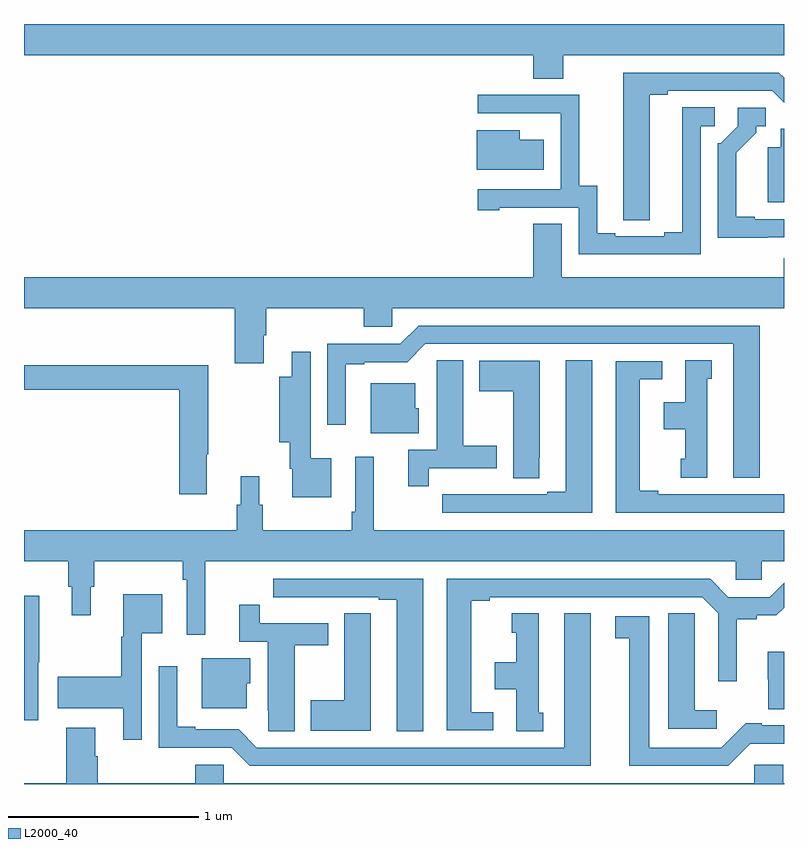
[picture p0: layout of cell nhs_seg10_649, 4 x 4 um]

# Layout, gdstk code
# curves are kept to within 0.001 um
import gdstk
lib = gdstk.Library(unit=1e-6, precision=1e-09)
def P(c, l, *ps):  # polygons
    for p in ps: c.add(gdstk.Polygon(p, *l))
L2000_40 = (2000, 40)

nhs_seg10_649 = lib.new_cell('nhs_seg10_649')
P(nhs_seg10_649, L2000_40, [(145.839,1280.336),(147,1280.336),(147,1280.5),(143,1280.5),(143,1280.336),(145.679,1280.336),(145.679,1280.212),(145.839,1280.212)],
  [(146.293,1280.128),(146.389,1280.128),(146.389,1280.148),(146.937,1280.148),(147,1280.085),(147,1280.217),(146.973,1280.244),(146.153,1280.244),(146.153,1279.576),(146.154,1279.576),(146.154,1279.468),(146.293,1279.468)],
  [(146.562,1279.962),(146.635,1279.962),(146.635,1280.063),(146.465,1280.063),(146.465,1279.403),(146.369,1279.403),(146.369,1279.383),(146.113,1279.383),(146.113,1279.398),(146.017,1279.398),(146.017,1279.649),(145.923,1279.649),(145.923,1280.127),(145.389,1280.127),(145.389,1280.031),(145.823,1280.031),(145.823,1280.03),(145.824,1280.03),(145.824,1279.629),(145.389,1279.629),(145.389,1279.521),(145.501,1279.521),(145.501,1279.533),(145.92,1279.533),(145.92,1279.287),(146.562,1279.287)],
  [(146.915,1279.377),(147,1279.377),(147,1279.473),(146.845,1279.473),(146.845,1279.486),(146.749,1279.486),(146.749,1279.822),(146.854,1279.927),(146.854,1279.962),(146.904,1279.962),(146.904,1280.058),(146.757,1280.058),(146.757,1279.962),(146.667,1279.872),(146.652,1279.872),(146.652,1279.376)],
  [(147,1279.95),(146.984,1279.95),(146.984,1279.852),(146.915,1279.852),(146.915,1279.562),(147,1279.562)],
  [(145.735,1279.891),(145.609,1279.891),(145.609,1279.942),(145.382,1279.942),(145.382,1279.733),(145.735,1279.733)],
  [(144.262,1278.862),(144.275,1278.862),(144.275,1279.004),(144.788,1279.004),(144.788,1278.906),(144.939,1278.906),(144.939,1279.004),(147,1279.004),(147,1279.266),(146.999,1279.266),(146.999,1279.168),(145.831,1279.168),(145.831,1279.448),(145.679,1279.448),(145.679,1279.168),(143,1279.168),(143,1279.004),(144.11,1279.004),(144.11,1278.714),(144.262,1278.714)],
  [(146.872,1278.912),(145.077,1278.912),(144.981,1278.816),(144.597,1278.816),(144.597,1278.39),(144.694,1278.39),(144.694,1278.708),(144.79,1278.708),(144.79,1278.72),(145.017,1278.72),(145.113,1278.816),(146.732,1278.816),(146.732,1278.111),(146.872,1278.111)],
  [(144.616,1278.214),(144.51,1278.214),(144.51,1278.539),(144.508,1278.539),(144.508,1278.775),(144.41,1278.775),(144.41,1278.643),(144.343,1278.643),(144.343,1278.299),(144.399,1278.299),(144.399,1278.158),(144.411,1278.158),(144.411,1278.008),(144.616,1278.008)],
  [(145.99,1278.731),(145.85,1278.731),(145.85,1278.039),(145.754,1278.039),(145.754,1278.024),(145.478,1278.024),(145.478,1278.025),(145.312,1278.025),(145.312,1278.024),(145.2,1278.024),(145.2,1277.928),(145.99,1277.928)],
  [(146.596,1278.633),(146.62,1278.633),(146.62,1278.731),(146.48,1278.731),(146.48,1278.508),(146.366,1278.508),(146.366,1278.368),(146.48,1278.368),(146.48,1278.213),(146.456,1278.213),(146.456,1278.111),(146.596,1278.111)],
  [(145.13,1278.162),(145.489,1278.162),(145.489,1278.279),(145.312,1278.279),(145.312,1278.731),(145.173,1278.731),(145.173,1278.62),(145.172,1278.62),(145.172,1278.258),(145.022,1278.258),(145.022,1278.066),(145.13,1278.066)],
  [(145.713,1278.217),(145.714,1278.217),(145.714,1278.727),(145.397,1278.727),(145.397,1278.568),(145.574,1278.568),(145.574,1278.109),(145.713,1278.109)],
  [(147,1278.024),(146.338,1278.024),(146.338,1278.044),(146.242,1278.044),(146.242,1278.63),(146.359,1278.63),(146.359,1278.726),(146.114,1278.726),(146.114,1277.928),(147,1277.928)],
  [(143.962,1278.236),(143.97,1278.236),(143.97,1278.703),(143,1278.703),(143,1278.574),(143.816,1278.574),(143.816,1278.024),(143.962,1278.024)],
  [(145.078,1278.477),(145.06,1278.477),(145.06,1278.61),(144.824,1278.61),(144.824,1278.347),(145.078,1278.347)],
  [(143.954,1277.672),(146.745,1277.672),(146.745,1277.574),(146.883,1277.574),(146.883,1277.672),(147,1277.672),(147,1277.836),(144.842,1277.836),(144.842,1278.223),(144.744,1278.223),(144.744,1277.932),(144.724,1277.932),(144.724,1277.836),(144.257,1277.836),(144.257,1277.97),(144.238,1277.97),(144.238,1278.121),(144.14,1278.121),(144.14,1277.97),(144.121,1277.97),(144.121,1277.836),(143,1277.836),(143,1277.672),(143.233,1277.672),(143.233,1277.538),(143.252,1277.538),(143.252,1277.388),(143.35,1277.388),(143.35,1277.538),(143.369,1277.538),(143.369,1277.672),(143.836,1277.672),(143.836,1277.576),(143.856,1277.576),(143.856,1277.286),(143.954,1277.286)],
  [(145.102,1277.58),(144.312,1277.58),(144.312,1277.484),(144.424,1277.484),(144.424,1277.483),(144.59,1277.483),(144.59,1277.484),(144.866,1277.484),(144.866,1277.469),(144.962,1277.469),(144.962,1276.777),(145.102,1276.777)],
  [(145.471,1276.878),(145.354,1276.878),(145.354,1277.464),(145.45,1277.464),(145.45,1277.484),(146.571,1277.484),(146.655,1277.4),(146.655,1277.04),(146.752,1277.04),(146.752,1277.368),(146.856,1277.368),(146.856,1277.387),(146.96,1277.387),(147,1277.427),(147,1277.559),(146.925,1277.484),(146.707,1277.484),(146.611,1277.58),(145.226,1277.58),(145.226,1276.782),(145.471,1276.782)],
  [(143.619,1277.294),(143.728,1277.294),(143.728,1277.5),(143.522,1277.5),(143.522,1277.274),(143.511,1277.274),(143.511,1277.064),(143.178,1277.064),(143.178,1276.898),(143.522,1276.898),(143.522,1276.734),(143.619,1276.734)],
  [(143.074,1277.142),(143.08,1277.142),(143.08,1277.491),(143,1277.491),(143,1276.836),(143.074,1276.836)],
  [(144.424,1277.23),(144.601,1277.23),(144.601,1277.346),(144.242,1277.346),(144.242,1277.443),(144.134,1277.443),(144.134,1277.25),(144.284,1277.25),(144.284,1276.888),(144.285,1276.888),(144.285,1276.777),(144.424,1276.777)],
  [(146.647,1276.888),(146.53,1276.888),(146.53,1277.291),(146.529,1277.291),(146.529,1277.399),(146.39,1277.399),(146.39,1276.791),(146.647,1276.791)],
  [(144.826,1277.291),(144.825,1277.291),(144.825,1277.399),(144.686,1277.399),(144.686,1276.941),(144.509,1276.941),(144.509,1276.781),(144.826,1276.781)],
  [(145.984,1277.398),(145.844,1277.398),(145.844,1276.692),(144.225,1276.692),(144.129,1276.788),(143.902,1276.788),(143.902,1276.801),(143.806,1276.801),(143.806,1277.119),(143.709,1277.119),(143.709,1276.692),(144.093,1276.692),(144.189,1276.596),(145.984,1276.596)],
  [(145.732,1276.875),(145.708,1276.875),(145.708,1277.398),(145.568,1277.398),(145.568,1277.295),(145.592,1277.295),(145.592,1277.14),(145.478,1277.14),(145.478,1277),(145.592,1277),(145.592,1276.777),(145.732,1276.777)],
  [(146.823,1276.713),(147,1276.713),(147,1276.809),(146.884,1276.809),(146.884,1276.82),(146.798,1276.82),(146.67,1276.692),(146.29,1276.692),(146.29,1277.382),(146.112,1277.382),(146.112,1277.266),(146.186,1277.266),(146.186,1276.596),(146.706,1276.596)],
  [(147,1277.197),(146.915,1277.197),(146.915,1277.052),(146.917,1277.052),(146.917,1276.894),(147,1276.894)],
  [(144.172,1277.031),(144.19,1277.031),(144.19,1277.161),(143.936,1277.161),(143.936,1276.898),(144.172,1276.898)],
  [(147,1276.504),(146.996,1276.504),(146.996,1276.602),(146.844,1276.602),(146.844,1276.504),(144.051,1276.504),(144.051,1276.602),(143.9,1276.602),(143.9,1276.504),(143.387,1276.504),(143.387,1276.646),(143.374,1276.646),(143.374,1276.795),(143.222,1276.795),(143.222,1276.504),(143,1276.504),(143,1276.5),(147,1276.5)])

lib.write_gds('nhs_seg10_649.gds')
